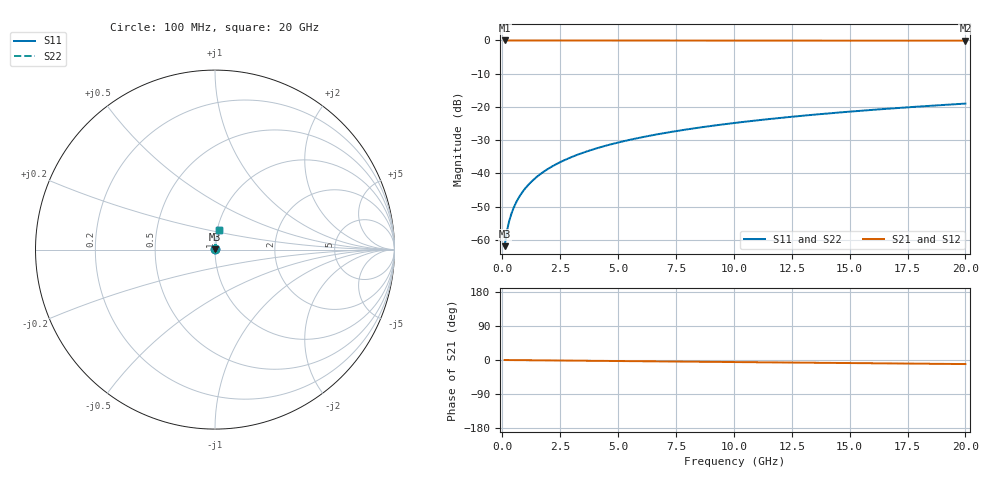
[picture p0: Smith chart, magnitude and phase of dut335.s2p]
! Touchstone file exported from HFSS 2026.1.0
!  File:  C:/ffzhzh/LocalFiles/Ansys_Project_Files/temp_train_TMRDL_335_1783003728_53980.aedt
!  Generated:  10:50:07 PM Jul  2, 2026
!  Design:  TMRDL
!  Project:  temp_train_TMRDL_335_1783003728_53980
! Variables:
!  h_bsmrdl = 2um
!  h_ox = 20um
!  h_rdl = 5um
!  h_sub = 80um
!  h_tmrdl = 5.18um
!  h_tsv = 80um
!  h_via = 3um
!  l_bsmrdl = 300um
!  l_sub = 515.72um
!  l_tmrdl = 115.72um
!  m_sub = 200um
!  pitch = 52.97um
!  r_tsv = 6um
!  s_tmrdl = 10um
!  w_bsmrdl = 18um
!  w_sub = 500um
!  w_tmrdl = 23.27um
!  x_tsv_center1 = 127.355um
!  x_tsv_center2 = 445.355um
!  x_tsv_center3 = 584.345um
!  x_tsv_center4 = 902.345um
!  x_tsv_center5 = 1041.335um
!  x_tsv_center6 = 1359.335um
# GHz S MA R 50.000000
! Terminal data exported
! Port[1] = TM_RDL1_1_T1
! Port[2] = TM_RDL1_1_T2
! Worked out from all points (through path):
!   200 points, 100 MHz to 20 GHz, reference 50 ohm
!   highest |S21| = 0.00 dB at 100 MHz (marker M1); lowest = -0.1 dB at 20 GHz (marker M2)
!   group delay of S21, straight-line fit = 1.49 ps
!   lowest |S11| = -61.9 dB at 100 MHz (marker M3), VSWR 1.00, Z = 50 + j0.0635 ohm
!   |S11| at or under -10 dB: start of sweep to end of sweep
!   |S22| runs from -61.9 to -19.0 dB; largest |S21 - S12| = 2.2e-15
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0.1  0.000804 52.1  0.9995 -0.1  0.9995 -0.1  0.000804 52.1
! Gamma 0 0 0 0
! Port Impedance 50 0 50 0
0.2  0.001358 67.3  0.9995 -0.1  0.9995 -0.1  0.001358 67.3
0.3  0.001937 73.2  0.9994 -0.2  0.9994 -0.2  0.001937 73.2
0.4  0.002516 76.5  0.9994 -0.2  0.9994 -0.2  0.002516 76.5
0.5  0.003094 78.5  0.9994 -0.3  0.9994 -0.3  0.003094 78.5
0.7  0.004254 81.1  0.9994 -0.4  0.9994 -0.4  0.004254 81.1
0.8  0.004835 81.9  0.9993 -0.4  0.9993 -0.4  0.004835 81.9
1  0.006001 83.1  0.9993 -0.6  0.9993 -0.6  0.006001 83.1
1.2  0.00717 83.8  0.9993 -0.7  0.9993 -0.7  0.00717 83.8
1.4  0.008339 84.3  0.9992 -0.8  0.9992 -0.8  0.008339 84.3
1.7  0.01009 84.8  0.9992 -0.9  0.9992 -0.9  0.01009 84.8
2  0.01185 85.1  0.9991 -1.1  0.9991 -1.1  0.01185 85.1
2.7  0.01592 85.3  0.999 -1.5  0.999 -1.5  0.01592 85.3
3.5  0.02054 85.2  0.9988 -1.9  0.9988 -1.9  0.02054 85.2
4.2  0.02456 85.0  0.9986 -2.3  0.9986 -2.3  0.02456 85.0
5  0.02912 84.7  0.9983 -2.7  0.9983 -2.7  0.02912 84.7
6.8  0.0393 84.0  0.9977 -3.7  0.9977 -3.7  0.0393 84.0
8.3  0.04772 83.4  0.9971 -4.5  0.9971 -4.5  0.04772 83.4
10.1  0.05778 82.6  0.9964 -5.5  0.9964 -5.5  0.05778 82.6
13.4  0.07609 81.1  0.9949 -7.2  0.9949 -7.2  0.07609 81.1
16.7  0.09423 79.5  0.9931 -9.0  0.9931 -9.0  0.09423 79.5
20  0.1122 77.9  0.9909 -10.7  0.9909 -10.7  0.1122 77.9
